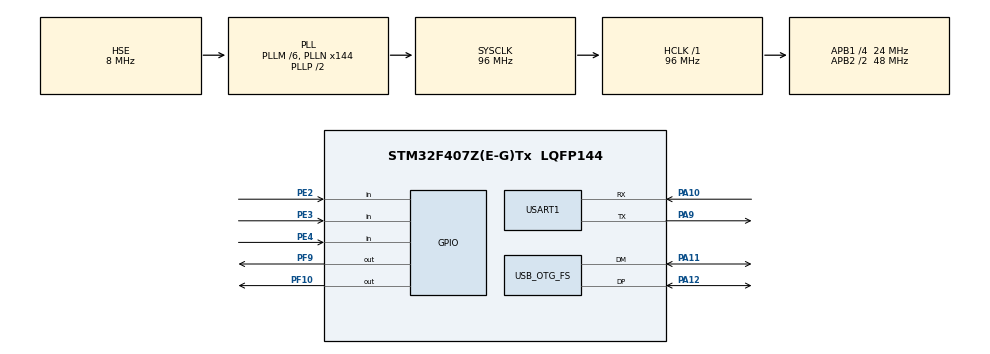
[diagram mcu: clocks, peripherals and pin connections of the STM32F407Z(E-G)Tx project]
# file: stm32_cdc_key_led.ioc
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Mcu.Family=STM32F4
Mcu.Name=STM32F407Z(E-G)Tx
Mcu.Package=LQFP144
NVIC.OTG_FS_IRQn=true\:0\:0\:false\:false\:true
NVIC.PriorityGroup=NVIC_PRIORITYGROUP_4
PA10.Mode=Asynchronous
PA10.Signal=USART1_RX
PA11.Mode=Device_Only
PA11.Signal=USB_OTG_FS_DM
PA12.Mode=Device_Only
PA12.Signal=USB_OTG_FS_DP
PA13.Mode=Serial_Wire
PA13.Signal=SYS_JTMS-SWDIO
PA14.Mode=Serial_Wire
PA14.Signal=SYS_JTCK-SWCLK
PA9.Mode=Asynchronous
PA9.Signal=USART1_TX
PE2.Signal=GPIO_Input
PE3.Signal=GPIO_Input
PE4.Signal=GPIO_Input
PF10.Signal=GPIO_Output
PF9.Signal=GPIO_Output
PH0-OSC_IN.Mode=HSE-External-Oscillator
PH0-OSC_IN.Signal=RCC_OSC_IN
PH1-OSC_OUT.Mode=HSE-External-Oscillator
PH1-OSC_OUT.Signal=RCC_OSC_OUT
ProjectManager.HeapSize=0x400
ProjectManager.StackSize=0x400
ProjectManager.TargetToolchain=EWARM
RCC.48MHZClocksFreq_Value=48000000
RCC.AHBFreq_Value=96000000
RCC.APB1CLKDivider=RCC_HCLK_DIV4
RCC.APB1Freq_Value=24000000
RCC.APB1TimFreq_Value=48000000
RCC.APB2CLKDivider=RCC_HCLK_DIV2
RCC.APB2Freq_Value=48000000
RCC.APB2TimFreq_Value=96000000
RCC.CortexFreq_Value=96000000
RCC.HCLKFreq_Value=96000000
RCC.HSE_VALUE=8000000
RCC.HSI_VALUE=16000000
RCC.LSE_VALUE=32768
RCC.PLLM=6
RCC.PLLN=144
RCC.SYSCLKFreq_VALUE=96000000
RCC.SYSCLKSource=RCC_SYSCLKSOURCE_PLLCLK
RCC.VCOOutputFreq_Value=192000000
USB_DEVICE.CLASS_NAME-CDC_FS=CDC
USB_DEVICE.CLASS_NAME_FS=CDC
USB_DEVICE.USBD_DEBUG_LEVEL-CDC_FS=3
USB_DEVICE.USBD_HandleTypeDef-CDC_FS=hUsbDeviceFS
USB_DEVICE.VirtualMode-CDC_FS=Cdc
USB_DEVICE.VirtualModeFS=Cdc_FS
USB_OTG_FS.VirtualMode=Device_Only
VP_USB_DEVICE_VS_USB_DEVICE_CDC_FS.Mode=CDC_FS
board=stm32_cdc_key_led

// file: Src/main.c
/**
  ******************************************************************************
  * File Name          : main.c
  * Description        : Main program body
  ******************************************************************************
  *
  * Copyright (c) 2017 STMicroelectronics International N.V.
  * All rights reserved.
  *
  * Redistribution and use in source and binary forms, with or without
  * modification, are permitted, provided that the following conditions are met:
  *
  * 1. Redistribution of source code must retain the above copyright notice,
  *    this list of conditions and the following disclaimer.
  * 2. Redistributions in binary form must reproduce the above copyright notice,
  *    this list of conditions and the following disclaimer in the documentation
  *    and/or other materials provided with the distribution.
  * 3. Neither the name of STMicroelectronics nor the names of other
  *    contributors to this software may be used to endorse or promote products
  *    derived from this software without specific written permission.
  * 4. This software, including modifications and/or derivative works of this
  *    software, must execute solely and exclusively on microcontroller or
  *    microprocessor devices manufactured by or for STMicroelectronics.
  * 5. Redistribution and use of this software other than as permitted under
  *    this license is void and will automatically terminate your rights under
  *    this license.
  *
  * THIS SOFTWARE IS PROVIDED BY STMICROELECTRONICS AND CONTRIBUTORS "AS IS"
  * AND ANY EXPRESS, IMPLIED OR STATUTORY WARRANTIES, INCLUDING, BUT NOT
  * LIMITED TO, THE IMPLIED WARRANTIES OF MERCHANTABILITY, FITNESS FOR A
  * PARTICULAR PURPOSE AND NON-INFRINGEMENT OF THIRD PARTY INTELLECTUAL PROPERTY
  * RIGHTS ARE DISCLAIMED TO THE FULLEST EXTENT PERMITTED BY LAW. IN NO EVENT
  * SHALL STMICROELECTRONICS OR CONTRIBUTORS BE LIABLE FOR ANY DIRECT, INDIRECT,
  * INCIDENTAL, SPECIAL, EXEMPLARY, OR CONSEQUENTIAL DAMAGES (INCLUDING, BUT NOT
  * LIMITED TO, PROCUREMENT OF SUBSTITUTE GOODS OR SERVICES; LOSS OF USE, DATA,
  * OR PROFITS; OR BUSINESS INTERRUPTION) HOWEVER CAUSED AND ON ANY THEORY OF
  * LIABILITY, WHETHER IN CONTRACT, STRICT LIABILITY, OR TORT (INCLUDING
  * NEGLIGENCE OR OTHERWISE) ARISING IN ANY WAY OUT OF THE USE OF THIS SOFTWARE,
  * EVEN IF ADVISED OF THE POSSIBILITY OF SUCH DAMAGE.
  *
  ******************************************************************************
  */
#include "main.h"
#include "stm32f4xx_hal.h"
#include "usb_device.h"

/* USER CODE BEGIN Includes */
#define BUFFER_SIZE 512
/* USER CODE END Includes */

UART_HandleTypeDef huart1;

/* USER CODE BEGIN PV */
/* Private variables ---------------------------------------------------------*/
uint32_t timecount = 0;
uint8_t usbrxbuffer[BUFFER_SIZE] = {0};
uint8_t usbtxbuffer[BUFFER_SIZE] = {0};
extern uint8_t UserTxBufferFS[512];
/* USER CODE END PV */

void SystemClock_Config(void);
void Error_Handler(void);
static void MX_GPIO_Init(void);
static void MX_USART1_UART_Init(void);

/* USER CODE BEGIN PFP */
/* Private function prototypes -----------------------------------------------*/

/* USER CODE END PFP */

/* USER CODE BEGIN 0 */

void HAL_SYSTICK_Callback(void);
/* USER CODE END 0 */

int main(void)
{

  /* USER CODE BEGIN 1 */
   volatile uint32_t i;
  /* USER CODE END 1 */

  /* MCU Configuration----------------------------------------------------------*/
  /* Reset of all peripherals, Initializes the Flash interface and the Systick. */
  HAL_Init();

  /* Configure the system clock */
  SystemClock_Config();

  /* Initialize all configured peripherals */
  MX_GPIO_Init();
  MX_USB_DEVICE_Init();
  MX_USART1_UART_Init();
  /* USER CODE BEGIN 2 */
  for(i=0;i<BUFFER_SIZE;i++){
    usbrxbuffer[i] = i;
  }
  /* USER CODE END 2 */

  /* Infinite loop */
  while (1)
  {

  /* USER CODE BEGIN 3 */
    HAL_GPIO_TogglePin(GPIOF, GPIO_PIN_9);
    HAL_GPIO_TogglePin(GPIOF, GPIO_PIN_10);
   // CDC_Transmit_FS(usbrxbuffer, BUFFER_SIZE);
    for(i=0;i<0xffff;i++);
    for(i=0;i<0xffff;i++);
    for(i=0;i<0xffff;i++);
  }
  /* USER CODE END 3 */
}

/** System Clock Configuration
*/
void SystemClock_Config(void)
{

  RCC_OscInitTypeDef RCC_OscInitStruct;
  RCC_ClkInitTypeDef RCC_ClkInitStruct;

    /**Configure the main internal regulator output voltage
    */
  __HAL_RCC_PWR_CLK_ENABLE();

  __HAL_PWR_VOLTAGESCALING_CONFIG(PWR_REGULATOR_VOLTAGE_SCALE1);

    /**Initializes the CPU, AHB and APB busses clocks
    */
  RCC_OscInitStruct.OscillatorType = RCC_OSCILLATORTYPE_HSE;
  RCC_OscInitStruct.HSEState = RCC_HSE_ON;
  RCC_OscInitStruct.PLL.PLLState = RCC_PLL_ON;
  RCC_OscInitStruct.PLL.PLLSource = RCC_PLLSOURCE_HSE;
  RCC_OscInitStruct.PLL.PLLM = 6;
  RCC_OscInitStruct.PLL.PLLN = 144;
  RCC_OscInitStruct.PLL.PLLP = RCC_PLLP_DIV2;
  RCC_OscInitStruct.PLL.PLLQ = 4;
  if (HAL_RCC_OscConfig(&RCC_OscInitStruct) != HAL_OK)
  {
    Error_Handler();
  }

    /**Initializes the CPU, AHB and APB busses clocks
    */
  RCC_ClkInitStruct.ClockType = RCC_CLOCKTYPE_HCLK|RCC_CLOCKTYPE_SYSCLK
                              |RCC_CLOCKTYPE_PCLK1|RCC_CLOCKTYPE_PCLK2;
  RCC_ClkInitStruct.SYSCLKSource = RCC_SYSCLKSOURCE_PLLCLK;
  RCC_ClkInitStruct.AHBCLKDivider = RCC_SYSCLK_DIV1;
  RCC_ClkInitStruct.APB1CLKDivider = RCC_HCLK_DIV4;
  RCC_ClkInitStruct.APB2CLKDivider = RCC_HCLK_DIV2;

  if (HAL_RCC_ClockConfig(&RCC_ClkInitStruct, FLASH_LATENCY_3) != HAL_OK)
  {
    Error_Handler();
  }

    /**Configure the Systick interrupt time
    */
  HAL_SYSTICK_Config(HAL_RCC_GetHCLKFreq()/1000);

    /**Configure the Systick
    */
  HAL_SYSTICK_CLKSourceConfig(SYSTICK_CLKSOURCE_HCLK);

  /* SysTick_IRQn interrupt configuration */
  HAL_NVIC_SetPriority(SysTick_IRQn, 0, 0);
}

/* USART1 init function */
static void  MX_USART1_UART_Init(void)
{

  huart1.Instance = USART1;
  huart1.Init.BaudRate = 115200;
  huart1.Init.WordLength = UART_WORDLENGTH_8B;
  huart1.Init.StopBits = UART_STOPBITS_1;
  huart1.Init.Parity = UART_PARITY_NONE;
  huart1.Init.Mode = UART_MODE_TX_RX;
  huart1.Init.HwFlowCtl = UART_HWCONTROL_NONE;
  huart1.Init.OverSampling = UART_OVERSAMPLING_16;
  if (HAL_UART_Init(&huart1) != HAL_OK)
  {
    Error_Handler();
  }

}

/** Configure pins as
        * Analog
        * Input
        * Output
        * EVENT_OUT
        * EXTI
*/
static void MX_GPIO_Init(void)
{

  GPIO_InitTypeDef GPIO_InitStruct;

  /* GPIO Ports Clock Enable */
  __HAL_RCC_GPIOE_CLK_ENABLE();
  __HAL_RCC_GPIOF_CLK_ENABLE();
  __HAL_RCC_GPIOH_CLK_ENABLE();
  __HAL_RCC_GPIOA_CLK_ENABLE();

  /*Configure GPIO pins : PE2 PE3 PE4 */
  GPIO_InitStruct.Pin = GPIO_PIN_2|GPIO_PIN_3|GPIO_PIN_4;
  GPIO_InitStruct.Mode = GPIO_MODE_INPUT;
  GPIO_InitStruct.Pull = GPIO_NOPULL;
  HAL_GPIO_Init(GPIOE, &GPIO_InitStruct);

  /*Configure GPIO pins : PF9 PF10 */
  GPIO_InitStruct.Pin = GPIO_PIN_9|GPIO_PIN_10;
  GPIO_InitStruct.Mode = GPIO_MODE_OUTPUT_PP;
  GPIO_InitStruct.Pull = GPIO_NOPULL;
  GPIO_InitStruct.Speed = GPIO_SPEED_FREQ_LOW;
  HAL_GPIO_Init(GPIOF, &GPIO_InitStruct);

  /*Configure GPIO pin Output Level */
  HAL_GPIO_WritePin(GPIOF, GPIO_PIN_9|GPIO_PIN_10, GPIO_PIN_RESET);

}

/* USER CODE BEGIN 4 */
void HAL_SYSTICK_Callback(void)
{
  timecount++;
}
/* USER CODE END 4 */

void Error_Handler(void)
{
  while(1)
  {
  }
}

/************************ (C) COPYRIGHT STMicroelectronics *****END OF FILE****/
